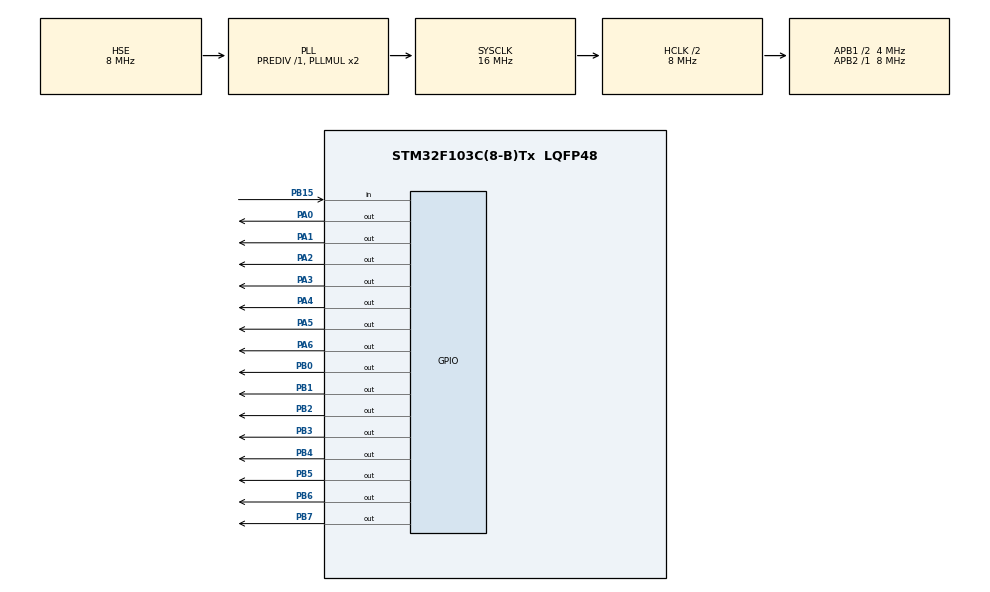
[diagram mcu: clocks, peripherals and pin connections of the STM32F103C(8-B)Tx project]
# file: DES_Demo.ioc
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Mcu.Family=STM32F1
Mcu.Name=STM32F103C(8-B)Tx
Mcu.Package=LQFP48
NVIC.PriorityGroup=NVIC_PRIORITYGROUP_4
PA0-WKUP.Signal=GPIO_Output
PA1.Signal=GPIO_Output
PA13.Mode=Serial_Wire
PA13.Signal=SYS_JTMS-SWDIO
PA14.Mode=Serial_Wire
PA14.Signal=SYS_JTCK-SWCLK
PA2.Signal=GPIO_Output
PA3.Signal=GPIO_Output
PA4.Signal=GPIO_Output
PA5.Signal=GPIO_Output
PA6.Signal=GPIO_Output
PB0.Signal=GPIO_Output
PB1.Signal=GPIO_Output
PB15.GPIO_PuPd=GPIO_PULLUP
PB15.Signal=GPIO_Input
PB2.Signal=GPIO_Output
PB3.Signal=GPIO_Output
PB4.Signal=GPIO_Output
PB5.Signal=GPIO_Output
PB6.Signal=GPIO_Output
PB7.GPIO_PuPd=GPIO_NOPULL
PB7.Signal=GPIO_Output
PD0-OSC_IN.Mode=HSE-External-Oscillator
PD0-OSC_IN.Signal=RCC_OSC_IN
PD1-OSC_OUT.Mode=HSE-External-Oscillator
PD1-OSC_OUT.Signal=RCC_OSC_OUT
ProjectManager.HeapSize=0x200
ProjectManager.StackSize=0x400
ProjectManager.TargetToolchain=STM32CubeIDE
RCC.AHBCLKDivider=RCC_SYSCLK_DIV2
RCC.AHBFreq_Value=8000000
RCC.APB1CLKDivider=RCC_HCLK_DIV2
RCC.APB1Freq_Value=4000000
RCC.APB1TimFreq_Value=8000000
RCC.APB2Freq_Value=8000000
RCC.APB2TimFreq_Value=8000000
RCC.HCLKFreq_Value=8000000
RCC.PLLSourceVirtual=RCC_PLLSOURCE_HSE
RCC.SYSCLKFreq_VALUE=16000000
RCC.SYSCLKSource=RCC_SYSCLKSOURCE_PLLCLK
RCC.USBFreq_Value=16000000
board=custom

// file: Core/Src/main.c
/* USER CODE BEGIN Header */
/**
  ******************************************************************************
  * @file           : main.c
  * @brief          : Main program body
  ******************************************************************************
  * @attention
  *
  * Copyright (c) 2024 STMicroelectronics.
  * All rights reserved.
  *
  * This software is licensed under terms that can be found in the LICENSE file
  * in the root directory of this software component.
  * If no LICENSE file comes with this software, it is provided AS-IS.
  *
  ******************************************************************************
  */
/* USER CODE END Header */
#include "main.h"

/* USER CODE BEGIN PV */
uint8_t Value = 0;
uint8_t x=400;
/* USER CODE END PV */

void SystemClock_Config(void);
static void MX_GPIO_Init(void);

/* USER CODE BEGIN 0 */
void Print(uint8_t Val)
{
	if(Val == 0)
	{
		HAL_GPIO_WritePin(GPIOB, GPIO_PIN_0, GPIO_PIN_SET);
		HAL_GPIO_WritePin(GPIOB, GPIO_PIN_1, GPIO_PIN_RESET);
		HAL_GPIO_WritePin(GPIOB, GPIO_PIN_2, GPIO_PIN_RESET);
		HAL_GPIO_WritePin(GPIOB, GPIO_PIN_3, GPIO_PIN_RESET);
		HAL_GPIO_WritePin(GPIOB, GPIO_PIN_4, GPIO_PIN_RESET);
		HAL_GPIO_WritePin(GPIOB, GPIO_PIN_5, GPIO_PIN_RESET);
		HAL_GPIO_WritePin(GPIOB, GPIO_PIN_6, GPIO_PIN_RESET);
	}
  else if(Val == 1)
  {
		HAL_GPIO_WritePin(GPIOB, GPIO_PIN_0, GPIO_PIN_SET);
		HAL_GPIO_WritePin(GPIOB, GPIO_PIN_1, GPIO_PIN_SET);
		HAL_GPIO_WritePin(GPIOB, GPIO_PIN_2, GPIO_PIN_SET);
		HAL_GPIO_WritePin(GPIOB, GPIO_PIN_3, GPIO_PIN_SET);
		HAL_GPIO_WritePin(GPIOB, GPIO_PIN_4, GPIO_PIN_RESET);
		HAL_GPIO_WritePin(GPIOB, GPIO_PIN_5, GPIO_PIN_RESET);
		HAL_GPIO_WritePin(GPIOB, GPIO_PIN_6, GPIO_PIN_SET);
  }
  else if(Val == 2)
  {
		HAL_GPIO_WritePin(GPIOB, GPIO_PIN_0, GPIO_PIN_RESET);
		HAL_GPIO_WritePin(GPIOB, GPIO_PIN_1, GPIO_PIN_SET);
		HAL_GPIO_WritePin(GPIOB, GPIO_PIN_2, GPIO_PIN_RESET);
		HAL_GPIO_WritePin(GPIOB, GPIO_PIN_3, GPIO_PIN_RESET);
		HAL_GPIO_WritePin(GPIOB, GPIO_PIN_4, GPIO_PIN_SET);
		HAL_GPIO_WritePin(GPIOB, GPIO_PIN_5, GPIO_PIN_RESET);
		HAL_GPIO_WritePin(GPIOB, GPIO_PIN_6, GPIO_PIN_RESET);
  }
  else if(Val == 3)
  {
		HAL_GPIO_WritePin(GPIOB, GPIO_PIN_0, GPIO_PIN_RESET);
		HAL_GPIO_WritePin(GPIOB, GPIO_PIN_1, GPIO_PIN_SET);
		HAL_GPIO_WritePin(GPIOB, GPIO_PIN_2, GPIO_PIN_SET);
		HAL_GPIO_WritePin(GPIOB, GPIO_PIN_3, GPIO_PIN_RESET);
		HAL_GPIO_WritePin(GPIOB, GPIO_PIN_4, GPIO_PIN_RESET);
		HAL_GPIO_WritePin(GPIOB, GPIO_PIN_5, GPIO_PIN_RESET);
		HAL_GPIO_WritePin(GPIOB, GPIO_PIN_6, GPIO_PIN_RESET);
  }
  else if(Val == 4)
  {
		HAL_GPIO_WritePin(GPIOB, GPIO_PIN_0, GPIO_PIN_RESET);
		HAL_GPIO_WritePin(GPIOB, GPIO_PIN_1, GPIO_PIN_RESET);
		HAL_GPIO_WritePin(GPIOB, GPIO_PIN_2, GPIO_PIN_SET);
		HAL_GPIO_WritePin(GPIOB, GPIO_PIN_3, GPIO_PIN_SET);
		HAL_GPIO_WritePin(GPIOB, GPIO_PIN_4, GPIO_PIN_RESET);
		HAL_GPIO_WritePin(GPIOB, GPIO_PIN_5, GPIO_PIN_RESET);
		HAL_GPIO_WritePin(GPIOB, GPIO_PIN_6, GPIO_PIN_SET);
  }
  else if(Val == 5)
  {
		HAL_GPIO_WritePin(GPIOB, GPIO_PIN_0, GPIO_PIN_RESET);
		HAL_GPIO_WritePin(GPIOB, GPIO_PIN_1, GPIO_PIN_RESET);
		HAL_GPIO_WritePin(GPIOB, GPIO_PIN_2, GPIO_PIN_SET);
		HAL_GPIO_WritePin(GPIOB, GPIO_PIN_3, GPIO_PIN_RESET);
		HAL_GPIO_WritePin(GPIOB, GPIO_PIN_4, GPIO_PIN_RESET);
		HAL_GPIO_WritePin(GPIOB, GPIO_PIN_5, GPIO_PIN_SET);
		HAL_GPIO_WritePin(GPIOB, GPIO_PIN_6, GPIO_PIN_RESET);
  }
  else if(Val == 6)
  {
		HAL_GPIO_WritePin(GPIOB, GPIO_PIN_0, GPIO_PIN_RESET);
		HAL_GPIO_WritePin(GPIOB, GPIO_PIN_1, GPIO_PIN_RESET);
		HAL_GPIO_WritePin(GPIOB, GPIO_PIN_2, GPIO_PIN_RESET);
		HAL_GPIO_WritePin(GPIOB, GPIO_PIN_3, GPIO_PIN_RESET);
		HAL_GPIO_WritePin(GPIOB, GPIO_PIN_4, GPIO_PIN_RESET);
		HAL_GPIO_WritePin(GPIOB, GPIO_PIN_5, GPIO_PIN_SET);
		HAL_GPIO_WritePin(GPIOB, GPIO_PIN_6, GPIO_PIN_RESET);
  }
  else if(Val == 7)
  {
		HAL_GPIO_WritePin(GPIOB, GPIO_PIN_0, GPIO_PIN_SET);
		HAL_GPIO_WritePin(GPIOB, GPIO_PIN_1, GPIO_PIN_SET);
		HAL_GPIO_WritePin(GPIOB, GPIO_PIN_2, GPIO_PIN_SET);
		HAL_GPIO_WritePin(GPIOB, GPIO_PIN_3, GPIO_PIN_SET);
		HAL_GPIO_WritePin(GPIOB, GPIO_PIN_4, GPIO_PIN_RESET);
		HAL_GPIO_WritePin(GPIOB, GPIO_PIN_5, GPIO_PIN_RESET);
		HAL_GPIO_WritePin(GPIOB, GPIO_PIN_6, GPIO_PIN_RESET);
  }
  else if(Val == 8)
  {
		HAL_GPIO_WritePin(GPIOB, GPIO_PIN_0, GPIO_PIN_RESET);
		HAL_GPIO_WritePin(GPIOB, GPIO_PIN_1, GPIO_PIN_RESET);
		HAL_GPIO_WritePin(GPIOB, GPIO_PIN_2, GPIO_PIN_RESET);
		HAL_GPIO_WritePin(GPIOB, GPIO_PIN_3, GPIO_PIN_RESET);
		HAL_GPIO_WritePin(GPIOB, GPIO_PIN_4, GPIO_PIN_RESET);
		HAL_GPIO_WritePin(GPIOB, GPIO_PIN_5, GPIO_PIN_RESET);
		HAL_GPIO_WritePin(GPIOB, GPIO_PIN_6, GPIO_PIN_RESET);
  }
  else if(Val == 9)
  {
		HAL_GPIO_WritePin(GPIOB, GPIO_PIN_0, GPIO_PIN_RESET);
		HAL_GPIO_WritePin(GPIOB, GPIO_PIN_1, GPIO_PIN_RESET);
		HAL_GPIO_WritePin(GPIOB, GPIO_PIN_2, GPIO_PIN_SET);
		HAL_GPIO_WritePin(GPIOB, GPIO_PIN_3, GPIO_PIN_RESET);
		HAL_GPIO_WritePin(GPIOB, GPIO_PIN_4, GPIO_PIN_RESET);
		HAL_GPIO_WritePin(GPIOB, GPIO_PIN_5, GPIO_PIN_RESET);
		HAL_GPIO_WritePin(GPIOB, GPIO_PIN_6, GPIO_PIN_RESET);
  }
}

void Print_1(uint8_t Val)
{
	if(Val == 0)
	{
		HAL_GPIO_WritePin(GPIOA, GPIO_PIN_0, GPIO_PIN_SET);
		HAL_GPIO_WritePin(GPIOA, GPIO_PIN_1, GPIO_PIN_RESET);
		HAL_GPIO_WritePin(GPIOA, GPIO_PIN_2, GPIO_PIN_RESET);
		HAL_GPIO_WritePin(GPIOA, GPIO_PIN_3, GPIO_PIN_RESET);
		HAL_GPIO_WritePin(GPIOA, GPIO_PIN_4, GPIO_PIN_RESET);
		HAL_GPIO_WritePin(GPIOA, GPIO_PIN_5, GPIO_PIN_RESET);
		HAL_GPIO_WritePin(GPIOA, GPIO_PIN_6, GPIO_PIN_RESET);
	}
  else if(Val == 1)
  {
		HAL_GPIO_WritePin(GPIOA, GPIO_PIN_0, GPIO_PIN_SET);
		HAL_GPIO_WritePin(GPIOA, GPIO_PIN_1, GPIO_PIN_SET);
		HAL_GPIO_WritePin(GPIOA, GPIO_PIN_2, GPIO_PIN_SET);
		HAL_GPIO_WritePin(GPIOA, GPIO_PIN_3, GPIO_PIN_SET);
		HAL_GPIO_WritePin(GPIOA, GPIO_PIN_4, GPIO_PIN_RESET);
		HAL_GPIO_WritePin(GPIOA, GPIO_PIN_5, GPIO_PIN_RESET);
		HAL_GPIO_WritePin(GPIOA, GPIO_PIN_6, GPIO_PIN_SET);
  }
  else if(Val == 2)
  {
		HAL_GPIO_WritePin(GPIOA, GPIO_PIN_0, GPIO_PIN_RESET);
		HAL_GPIO_WritePin(GPIOA, GPIO_PIN_1, GPIO_PIN_SET);
		HAL_GPIO_WritePin(GPIOA, GPIO_PIN_2, GPIO_PIN_RESET);
		HAL_GPIO_WritePin(GPIOA, GPIO_PIN_3, GPIO_PIN_RESET);
		HAL_GPIO_WritePin(GPIOA, GPIO_PIN_4, GPIO_PIN_SET);
		HAL_GPIO_WritePin(GPIOA, GPIO_PIN_5, GPIO_PIN_RESET);
		HAL_GPIO_WritePin(GPIOA, GPIO_PIN_6, GPIO_PIN_RESET);
  }
  else if(Val == 3)
  {
		HAL_GPIO_WritePin(GPIOA, GPIO_PIN_0, GPIO_PIN_RESET);
		HAL_GPIO_WritePin(GPIOA, GPIO_PIN_1, GPIO_PIN_SET);
		HAL_GPIO_WritePin(GPIOA, GPIO_PIN_2, GPIO_PIN_SET);
		HAL_GPIO_WritePin(GPIOA, GPIO_PIN_3, GPIO_PIN_RESET);
		HAL_GPIO_WritePin(GPIOA, GPIO_PIN_4, GPIO_PIN_RESET);
		HAL_GPIO_WritePin(GPIOA, GPIO_PIN_5, GPIO_PIN_RESET);
		HAL_GPIO_WritePin(GPIOA, GPIO_PIN_6, GPIO_PIN_RESET);
  }
  else if(Val == 4)
  {
		HAL_GPIO_WritePin(GPIOA, GPIO_PIN_0, GPIO_PIN_RESET);
		HAL_GPIO_WritePin(GPIOA, GPIO_PIN_1, GPIO_PIN_RESET);
		HAL_GPIO_WritePin(GPIOA, GPIO_PIN_2, GPIO_PIN_SET);
		HAL_GPIO_WritePin(GPIOA, GPIO_PIN_3, GPIO_PIN_SET);
		HAL_GPIO_WritePin(GPIOA, GPIO_PIN_4, GPIO_PIN_RESET);
		HAL_GPIO_WritePin(GPIOA, GPIO_PIN_5, GPIO_PIN_RESET);
		HAL_GPIO_WritePin(GPIOA, GPIO_PIN_6, GPIO_PIN_SET);
  }
  else if(Val == 5)
  {
		HAL_GPIO_WritePin(GPIOA, GPIO_PIN_0, GPIO_PIN_RESET);
		HAL_GPIO_WritePin(GPIOA, GPIO_PIN_1, GPIO_PIN_RESET);
		HAL_GPIO_WritePin(GPIOA, GPIO_PIN_2, GPIO_PIN_SET);
		HAL_GPIO_WritePin(GPIOA, GPIO_PIN_3, GPIO_PIN_RESET);
		HAL_GPIO_WritePin(GPIOA, GPIO_PIN_4, GPIO_PIN_RESET);
		HAL_GPIO_WritePin(GPIOA, GPIO_PIN_5, GPIO_PIN_SET);
		HAL_GPIO_WritePin(GPIOA, GPIO_PIN_6, GPIO_PIN_RESET);
  }
  else if(Val == 6)
  {
		HAL_GPIO_WritePin(GPIOA, GPIO_PIN_0, GPIO_PIN_RESET);
		HAL_GPIO_WritePin(GPIOA, GPIO_PIN_1, GPIO_PIN_RESET);
		HAL_GPIO_WritePin(GPIOA, GPIO_PIN_2, GPIO_PIN_RESET);
		HAL_GPIO_WritePin(GPIOA, GPIO_PIN_3, GPIO_PIN_RESET);
		HAL_GPIO_WritePin(GPIOA, GPIO_PIN_4, GPIO_PIN_RESET);
		HAL_GPIO_WritePin(GPIOA, GPIO_PIN_5, GPIO_PIN_SET);
		HAL_GPIO_WritePin(GPIOA, GPIO_PIN_6, GPIO_PIN_RESET);
  }
  else if(Val == 7)
  {
		HAL_GPIO_WritePin(GPIOA, GPIO_PIN_0, GPIO_PIN_SET);
		HAL_GPIO_WritePin(GPIOA, GPIO_PIN_1, GPIO_PIN_SET);
		HAL_GPIO_WritePin(GPIOA, GPIO_PIN_2, GPIO_PIN_SET);
		HAL_GPIO_WritePin(GPIOA, GPIO_PIN_3, GPIO_PIN_SET);
		HAL_GPIO_WritePin(GPIOA, GPIO_PIN_4, GPIO_PIN_RESET);
		HAL_GPIO_WritePin(GPIOA, GPIO_PIN_5, GPIO_PIN_RESET);
		HAL_GPIO_WritePin(GPIOA, GPIO_PIN_6, GPIO_PIN_RESET);
  }
  else if(Val == 8)
  {
		HAL_GPIO_WritePin(GPIOA, GPIO_PIN_0, GPIO_PIN_RESET);
		HAL_GPIO_WritePin(GPIOA, GPIO_PIN_1, GPIO_PIN_RESET);
		HAL_GPIO_WritePin(GPIOA, GPIO_PIN_2, GPIO_PIN_RESET);
		HAL_GPIO_WritePin(GPIOA, GPIO_PIN_3, GPIO_PIN_RESET);
		HAL_GPIO_WritePin(GPIOA, GPIO_PIN_4, GPIO_PIN_RESET);
		HAL_GPIO_WritePin(GPIOA, GPIO_PIN_5, GPIO_PIN_RESET);
		HAL_GPIO_WritePin(GPIOA, GPIO_PIN_6, GPIO_PIN_RESET);
  }
  else if(Val == 9)
  {
		HAL_GPIO_WritePin(GPIOA, GPIO_PIN_0, GPIO_PIN_RESET);
		HAL_GPIO_WritePin(GPIOA, GPIO_PIN_1, GPIO_PIN_RESET);
		HAL_GPIO_WritePin(GPIOA, GPIO_PIN_2, GPIO_PIN_SET);
		HAL_GPIO_WritePin(GPIOA, GPIO_PIN_3, GPIO_PIN_RESET);
		HAL_GPIO_WritePin(GPIOA, GPIO_PIN_4, GPIO_PIN_RESET);
		HAL_GPIO_WritePin(GPIOA, GPIO_PIN_5, GPIO_PIN_RESET);
		HAL_GPIO_WritePin(GPIOA, GPIO_PIN_6, GPIO_PIN_RESET);
  }
}
/* USER CODE END 0 */

int main(void)
{

  /* MCU Configuration--------------------------------------------------------*/

  /* Reset of all peripherals, Initializes the Flash interface and the Systick. */
  HAL_Init();

  /* Configure the system clock */
  SystemClock_Config();

  /* Initialize all configured peripherals */
  MX_GPIO_Init();

  /* Infinite loop */
  /* USER CODE BEGIN WHILE */
  Print(Value++);
  Print_1(0);
  while (1)
  {
    /* USER CODE END WHILE */

    /* USER CODE BEGIN 3 */
	  uint8_t RdPin = HAL_GPIO_ReadPin(GPIOB, GPIO_PIN_15);
	  if(RdPin == 0)
		{
		  HAL_GPIO_TogglePin(GPIOB, GPIO_PIN_7 );
		  HAL_Delay(10);
		  RdPin = HAL_GPIO_ReadPin(GPIOB, GPIO_PIN_15);
		  if(RdPin == 0)
		  {
			  Print(Value/10);
			  Print_1((Value++)%10);
		  }
		  if(Value == 100)
			  Value = 0;
		  HAL_Delay(x);
		  while(1)
		  {
			uint8_t RdPin = HAL_GPIO_ReadPin(GPIOB, GPIO_PIN_15);
			if(RdPin ==1)
			break;
		  }
		}
		HAL_Delay(10);
  }
  /* USER CODE END 3 */
}

void SystemClock_Config(void)
{
  RCC_OscInitTypeDef RCC_OscInitStruct = {0};
  RCC_ClkInitTypeDef RCC_ClkInitStruct = {0};

  /** Initializes the RCC Oscillators according to the specified parameters
  * in the RCC_OscInitTypeDef structure.
  */
  RCC_OscInitStruct.OscillatorType = RCC_OSCILLATORTYPE_HSE;
  RCC_OscInitStruct.HSEState = RCC_HSE_ON;
  RCC_OscInitStruct.HSEPredivValue = RCC_HSE_PREDIV_DIV1;
  RCC_OscInitStruct.HSIState = RCC_HSI_ON;
  RCC_OscInitStruct.PLL.PLLState = RCC_PLL_ON;
  RCC_OscInitStruct.PLL.PLLSource = RCC_PLLSOURCE_HSE;
  RCC_OscInitStruct.PLL.PLLMUL = RCC_PLL_MUL2;
  if (HAL_RCC_OscConfig(&RCC_OscInitStruct) != HAL_OK)
  {
    Error_Handler();
  }

  /** Initializes the CPU, AHB and APB buses clocks
  */
  RCC_ClkInitStruct.ClockType = RCC_CLOCKTYPE_HCLK|RCC_CLOCKTYPE_SYSCLK
                              |RCC_CLOCKTYPE_PCLK1|RCC_CLOCKTYPE_PCLK2;
  RCC_ClkInitStruct.SYSCLKSource = RCC_SYSCLKSOURCE_PLLCLK;
  RCC_ClkInitStruct.AHBCLKDivider = RCC_SYSCLK_DIV2;
  RCC_ClkInitStruct.APB1CLKDivider = RCC_HCLK_DIV2;
  RCC_ClkInitStruct.APB2CLKDivider = RCC_HCLK_DIV1;

  if (HAL_RCC_ClockConfig(&RCC_ClkInitStruct, FLASH_LATENCY_0) != HAL_OK)
  {
    Error_Handler();
  }
}

static void MX_GPIO_Init(void)
{
  GPIO_InitTypeDef GPIO_InitStruct = {0};

  /* GPIO Ports Clock Enable */
  __HAL_RCC_GPIOD_CLK_ENABLE();
  __HAL_RCC_GPIOA_CLK_ENABLE();
  __HAL_RCC_GPIOB_CLK_ENABLE();

  /*Configure GPIO pin Output Level */
  HAL_GPIO_WritePin(GPIOA, GPIO_PIN_0|GPIO_PIN_1|GPIO_PIN_2|GPIO_PIN_3
                          |GPIO_PIN_4|GPIO_PIN_5|GPIO_PIN_6, GPIO_PIN_RESET);

  /*Configure GPIO pin Output Level */
  HAL_GPIO_WritePin(GPIOB, GPIO_PIN_0|GPIO_PIN_1|GPIO_PIN_2|GPIO_PIN_3
                          |GPIO_PIN_4|GPIO_PIN_5|GPIO_PIN_6|GPIO_PIN_7, GPIO_PIN_RESET);

  /*Configure GPIO pins : PA0 PA1 PA2 PA3
                           PA4 PA5 PA6 */
  GPIO_InitStruct.Pin = GPIO_PIN_0|GPIO_PIN_1|GPIO_PIN_2|GPIO_PIN_3
                          |GPIO_PIN_4|GPIO_PIN_5|GPIO_PIN_6;
  GPIO_InitStruct.Mode = GPIO_MODE_OUTPUT_PP;
  GPIO_InitStruct.Pull = GPIO_NOPULL;
  GPIO_InitStruct.Speed = GPIO_SPEED_FREQ_LOW;
  HAL_GPIO_Init(GPIOA, &GPIO_InitStruct);

  /*Configure GPIO pins : PB0 PB1 PB2 PB3
                           PB4 PB5 PB6 PB7 */
  GPIO_InitStruct.Pin = GPIO_PIN_0|GPIO_PIN_1|GPIO_PIN_2|GPIO_PIN_3
                          |GPIO_PIN_4|GPIO_PIN_5|GPIO_PIN_6|GPIO_PIN_7;
  GPIO_InitStruct.Mode = GPIO_MODE_OUTPUT_PP;
  GPIO_InitStruct.Pull = GPIO_NOPULL;
  GPIO_InitStruct.Speed = GPIO_SPEED_FREQ_LOW;
  HAL_GPIO_Init(GPIOB, &GPIO_InitStruct);

  /*Configure GPIO pin : PB15 */
  GPIO_InitStruct.Pin = GPIO_PIN_15;
  GPIO_InitStruct.Mode = GPIO_MODE_INPUT;
  GPIO_InitStruct.Pull = GPIO_PULLUP;
  HAL_GPIO_Init(GPIOB, &GPIO_InitStruct);

}

void Error_Handler(void)
{
  __disable_irq();
  while (1)
  {
  }
}
